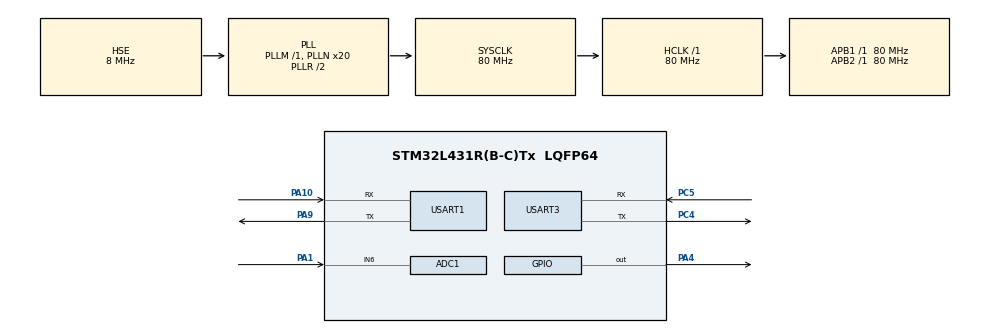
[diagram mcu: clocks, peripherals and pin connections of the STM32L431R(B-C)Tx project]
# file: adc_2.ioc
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ADC1.Channel-0\#ChannelRegularConversion=ADC_CHANNEL_6
ADC1.NbrOfConversionFlag=1
ADC1.OffsetNumber-0\#ChannelRegularConversion=ADC_OFFSET_NONE
ADC1.Rank-0\#ChannelRegularConversion=1
ADC1.SamplingTime-0\#ChannelRegularConversion=ADC_SAMPLETIME_2CYCLES_5
ADC1.master=1
Mcu.Family=STM32L4
Mcu.Name=STM32L431R(B-C)Tx
Mcu.Package=LQFP64
NVIC.PriorityGroup=NVIC_PRIORITYGROUP_4
NVIC.USART1_IRQn=true\:0\:0\:false\:false\:true\:true\:true
NVIC.USART3_IRQn=true\:0\:0\:false\:false\:true\:true\:true
PA1.Signal=ADCx_IN6
PA10.Mode=Asynchronous
PA10.Signal=USART1_RX
PA4.Signal=GPIO_Output
PA9.Mode=Asynchronous
PA9.Signal=USART1_TX
PC4.Mode=Asynchronous
PC4.Signal=USART3_TX
PC5.Mode=Asynchronous
PC5.Signal=USART3_RX
PH0-OSC_IN\ (PH0).Mode=HSE-External-Oscillator
PH0-OSC_IN\ (PH0).Signal=RCC_OSC_IN
PH1-OSC_OUT\ (PH1).Mode=HSE-External-Oscillator
PH1-OSC_OUT\ (PH1).Signal=RCC_OSC_OUT
ProjectManager.HeapSize=0x200
ProjectManager.StackSize=0x400
ProjectManager.TargetToolchain=MDK-ARM V5
RCC.ADCCLockSelection=RCC_ADCCLKSOURCE_SYSCLK
RCC.ADCFreq_Value=80000000
RCC.AHBFreq_Value=80000000
RCC.APB1Freq_Value=80000000
RCC.APB1TimFreq_Value=80000000
RCC.APB2Freq_Value=80000000
RCC.APB2TimFreq_Value=80000000
RCC.CortexFreq_Value=80000000
RCC.HCLKFreq_Value=80000000
RCC.HSE_VALUE=8000000
RCC.HSI48_VALUE=48000000
RCC.HSI_VALUE=16000000
RCC.LSE_VALUE=32768
RCC.MSI_VALUE=4000000
RCC.PLLN=20
RCC.PLLSAI1N=16
RCC.PLLSourceVirtual=RCC_PLLSOURCE_HSE
RCC.SYSCLKFreq_VALUE=80000000
RCC.SYSCLKSource=RCC_SYSCLKSOURCE_PLLCLK
RCC.VCOOutputFreq_Value=160000000
SH.ADCx_IN6.0=ADC1_IN6,IN6-Single-Ended
USART1.VirtualMode-Asynchronous=VM_ASYNC
USART3.VirtualMode-Asynchronous=VM_ASYNC
board=custom

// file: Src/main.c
/* USER CODE BEGIN Header */
/**
  ******************************************************************************
  * @file           : main.c
  * @brief          : Main program body
  ******************************************************************************
  * @attention
  *
  * <h2><center>&copy; Copyright (c) 2019 STMicroelectronics.
  * All rights reserved.</center></h2>
  *
  * This software component is licensed by ST under BSD 3-Clause license,
  * the "License"; You may not use this file except in compliance with the
  * License. You may obtain a copy of the License at:
  *                        opensource.org/licenses/BSD-3-Clause
  *
  ******************************************************************************
  */
/* USER CODE END Header */

#include "main.h"

/* USER CODE BEGIN Includes */
#include "stdio.h"
#define LOG_FORMAT "\n板载电压为 %f \nADC取值为%d"
/* USER CODE END Includes */

ADC_HandleTypeDef hadc1;

UART_HandleTypeDef huart1;
UART_HandleTypeDef huart3;

/* USER CODE BEGIN PV */
uint16_t ADC_Value;//存储ADC的值
float Value_Real;//真实的电压值
uint16_t Value_loop;//循环计数
uint32_t Value_Average;//AD平均值
uint16_t* Value_VREF_CAL;//参考电压

uint8_t RxBuffer[12]= "01234abcde";
uint8_t TxBuffer[12]= "RECEIVED";
uint8_t getBuffer[10];

/* USER CODE END PV */

void SystemClock_Config(void);
static void MX_GPIO_Init(void);
static void MX_ADC1_Init(void);
static void MX_USART1_UART_Init(void);
static void MX_USART3_UART_Init(void);
/* USER CODE BEGIN PFP */
void Printinfo_ADC_Value(void);
/* USER CODE END PFP */

int main(void)
{

  /* MCU Configuration--------------------------------------------------------*/

  /* Reset of all peripherals, Initializes the Flash interface and the Systick. */
  HAL_Init();

  /* Configure the system clock */
  SystemClock_Config();

  /* Initialize all configured peripherals */
  MX_GPIO_Init();
  MX_ADC1_Init();
  MX_USART1_UART_Init();
  MX_USART3_UART_Init();

  /* Infinite loop */
  /* USER CODE BEGIN WHILE */
  while (1)
  {
  HAL_GPIO_TogglePin(GPIOC, GPIO_PIN_0);
  HAL_Delay(2);

    //HAL_UART_Transmit(&huart1,RxBuffer,10,10);

      // Printinfo_ADC_Value();
    /* USER CODE END WHILE */

  }
}

void SystemClock_Config(void)
{
  RCC_OscInitTypeDef RCC_OscInitStruct = {0};
  RCC_ClkInitTypeDef RCC_ClkInitStruct = {0};
  RCC_PeriphCLKInitTypeDef PeriphClkInit = {0};

  /** Initializes the CPU, AHB and APB busses clocks
  */
  RCC_OscInitStruct.OscillatorType = RCC_OSCILLATORTYPE_HSE;
  RCC_OscInitStruct.HSEState = RCC_HSE_ON;
  RCC_OscInitStruct.PLL.PLLState = RCC_PLL_ON;
  RCC_OscInitStruct.PLL.PLLSource = RCC_PLLSOURCE_HSE;
  RCC_OscInitStruct.PLL.PLLM = 1;
  RCC_OscInitStruct.PLL.PLLN = 20;
  RCC_OscInitStruct.PLL.PLLP = RCC_PLLP_DIV7;
  RCC_OscInitStruct.PLL.PLLQ = RCC_PLLQ_DIV2;
  RCC_OscInitStruct.PLL.PLLR = RCC_PLLR_DIV2;
  if (HAL_RCC_OscConfig(&RCC_OscInitStruct) != HAL_OK)
  {
    Error_Handler();
  }
  /** Initializes the CPU, AHB and APB busses clocks
  */
  RCC_ClkInitStruct.ClockType = RCC_CLOCKTYPE_HCLK|RCC_CLOCKTYPE_SYSCLK
                              |RCC_CLOCKTYPE_PCLK1|RCC_CLOCKTYPE_PCLK2;
  RCC_ClkInitStruct.SYSCLKSource = RCC_SYSCLKSOURCE_PLLCLK;
  RCC_ClkInitStruct.AHBCLKDivider = RCC_SYSCLK_DIV1;
  RCC_ClkInitStruct.APB1CLKDivider = RCC_HCLK_DIV1;
  RCC_ClkInitStruct.APB2CLKDivider = RCC_HCLK_DIV1;

  if (HAL_RCC_ClockConfig(&RCC_ClkInitStruct, FLASH_LATENCY_4) != HAL_OK)
  {
    Error_Handler();
  }
  PeriphClkInit.PeriphClockSelection = RCC_PERIPHCLK_USART1|RCC_PERIPHCLK_USART3
                              |RCC_PERIPHCLK_ADC;
  PeriphClkInit.Usart1ClockSelection = RCC_USART1CLKSOURCE_PCLK2;
  PeriphClkInit.Usart3ClockSelection = RCC_USART3CLKSOURCE_PCLK1;
  PeriphClkInit.AdcClockSelection = RCC_ADCCLKSOURCE_SYSCLK;
  if (HAL_RCCEx_PeriphCLKConfig(&PeriphClkInit) != HAL_OK)
  {
    Error_Handler();
  }
  /** Configure the main internal regulator output voltage
  */
  if (HAL_PWREx_ControlVoltageScaling(PWR_REGULATOR_VOLTAGE_SCALE1) != HAL_OK)
  {
    Error_Handler();
  }
}

static void MX_ADC1_Init(void)
{

  ADC_ChannelConfTypeDef sConfig = {0};

  /** Common config
  */
  hadc1.Instance = ADC1;
  hadc1.Init.ClockPrescaler = ADC_CLOCK_ASYNC_DIV1;
  hadc1.Init.Resolution = ADC_RESOLUTION_12B;
  hadc1.Init.DataAlign = ADC_DATAALIGN_RIGHT;
  hadc1.Init.ScanConvMode = ADC_SCAN_DISABLE;
  hadc1.Init.EOCSelection = ADC_EOC_SINGLE_CONV;
  hadc1.Init.LowPowerAutoWait = DISABLE;
  hadc1.Init.ContinuousConvMode = DISABLE;
  hadc1.Init.NbrOfConversion = 1;
  hadc1.Init.DiscontinuousConvMode = DISABLE;
  hadc1.Init.NbrOfDiscConversion = 1;
  hadc1.Init.ExternalTrigConv = ADC_SOFTWARE_START;
  hadc1.Init.ExternalTrigConvEdge = ADC_EXTERNALTRIGCONVEDGE_NONE;
  hadc1.Init.DMAContinuousRequests = DISABLE;
  hadc1.Init.Overrun = ADC_OVR_DATA_PRESERVED;
  hadc1.Init.OversamplingMode = DISABLE;
  if (HAL_ADC_Init(&hadc1) != HAL_OK)
  {
    Error_Handler();
  }
  /** Configure Regular Channel
  */
  sConfig.Channel = ADC_CHANNEL_6;
  sConfig.Rank = ADC_REGULAR_RANK_1;
  sConfig.SamplingTime = ADC_SAMPLETIME_2CYCLES_5;
  sConfig.SingleDiff = ADC_SINGLE_ENDED;
  sConfig.OffsetNumber = ADC_OFFSET_NONE;
  sConfig.Offset = 0;
  if (HAL_ADC_ConfigChannel(&hadc1, &sConfig) != HAL_OK)
  {
    Error_Handler();
  }

}

static void MX_USART1_UART_Init(void)
{

  huart1.Instance = USART1;
  huart1.Init.BaudRate = 115200;
  huart1.Init.WordLength = UART_WORDLENGTH_8B;
  huart1.Init.StopBits = UART_STOPBITS_1;
  huart1.Init.Parity = UART_PARITY_NONE;
  huart1.Init.Mode = UART_MODE_TX_RX;
  huart1.Init.HwFlowCtl = UART_HWCONTROL_NONE;
  huart1.Init.OverSampling = UART_OVERSAMPLING_16;
  huart1.Init.OneBitSampling = UART_ONE_BIT_SAMPLE_DISABLE;
  huart1.AdvancedInit.AdvFeatureInit = UART_ADVFEATURE_NO_INIT;
  if (HAL_UART_Init(&huart1) != HAL_OK)
  {
    Error_Handler();
  }

}

static void MX_USART3_UART_Init(void)
{

  huart3.Instance = USART3;
  huart3.Init.BaudRate = 115200;
  huart3.Init.WordLength = UART_WORDLENGTH_8B;
  huart3.Init.StopBits = UART_STOPBITS_1;
  huart3.Init.Parity = UART_PARITY_NONE;
  huart3.Init.Mode = UART_MODE_TX_RX;
  huart3.Init.HwFlowCtl = UART_HWCONTROL_NONE;
  huart3.Init.OverSampling = UART_OVERSAMPLING_16;
  huart3.Init.OneBitSampling = UART_ONE_BIT_SAMPLE_DISABLE;
  huart3.AdvancedInit.AdvFeatureInit = UART_ADVFEATURE_NO_INIT;
  if (HAL_UART_Init(&huart3) != HAL_OK)
  {
    Error_Handler();
  }
  /* USER CODE BEGIN USART3_Init 2 */
  HAL_UART_Receive_IT(&huart3, (uint8_t *) getBuffer, 10);//用于重新使能中断接收

  /* USER CODE END USART3_Init 2 */

}

static void MX_GPIO_Init(void)
{
  GPIO_InitTypeDef GPIO_InitStruct = {0};

  /* GPIO Ports Clock Enable */
  __HAL_RCC_GPIOH_CLK_ENABLE();
  __HAL_RCC_GPIOA_CLK_ENABLE();
  __HAL_RCC_GPIOC_CLK_ENABLE();

  /*Configure GPIO pin Output Level */
  HAL_GPIO_WritePin(GPIOA, GPIO_PIN_4, GPIO_PIN_RESET);

  /*Configure GPIO pin : PA4 */
  GPIO_InitStruct.Pin = GPIO_PIN_4;
  GPIO_InitStruct.Mode = GPIO_MODE_OUTPUT_PP;
  GPIO_InitStruct.Pull = GPIO_NOPULL;
  GPIO_InitStruct.Speed = GPIO_SPEED_FREQ_LOW;
  HAL_GPIO_Init(GPIOA, &GPIO_InitStruct);

}

/* USER CODE BEGIN 4 */
void Printinfo_ADC_Value(void)
{
     Value_Average = 0;
     Value_VREF_CAL = VREFINT_CAL_ADDR;
     HAL_ADC_Start(&hadc1);
     if(HAL_ADC_PollForConversion(&hadc1, 200) == HAL_OK)//等待转换完成
     {
           HAL_Delay(1000);
           HAL_ADCEx_Calibration_Start(&hadc1 ,ADC_SINGLE_ENDED);//AD校准

           //采集10个值作为滤波
           if(HAL_IS_BIT_SET(HAL_ADC_GetState(&hadc1), HAL_ADC_STATE_REG_EOC))
           {
                 for(Value_loop = 0;Value_loop<10;Value_loop++)
               {
                   ADC_Value = HAL_ADC_GetValue(&hadc1);
                   Value_Average += ADC_Value;
               }
               Value_Real=(float)(ADC_Value*(3.3/4095.));
               printf(LOG_FORMAT,Value_Real,(Value_Average/10));
               HAL_Delay(1000);
           }
     }
}

int fputc(int ch,FILE *f)
{
   HAL_UART_Transmit(&huart3,(uint8_t *)&ch,1,0xFFFF);//hurat1为串口号
   return ch;
}

void HAL_UART_RxCpltCallback(UART_HandleTypeDef *huart)
{

    UNUSED(huart);

    HAL_UART_Transmit_IT(&huart3, (uint8_t *) getBuffer, 10);

}

/* USER CODE END 4 */

void Error_Handler(void)
{
}

/************************ (C) COPYRIGHT STMicroelectronics *****END OF FILE****/
